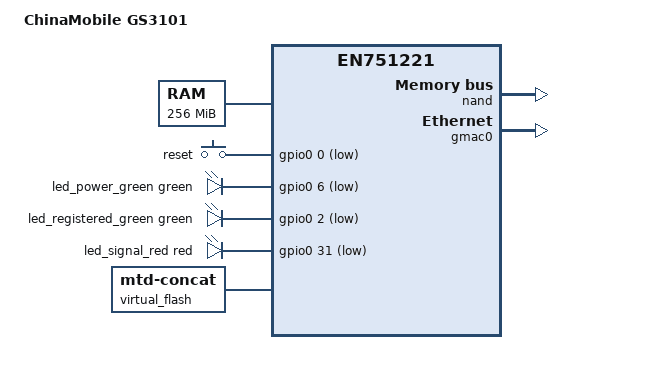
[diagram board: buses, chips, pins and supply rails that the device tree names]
// SPDX-License-Identifier: (GPL-2.0-only OR BSD-2-Clause)
/dts-v1/;

#include <dt-bindings/gpio/gpio.h>
#include <dt-bindings/input/input.h>
#include <dt-bindings/leds/common.h>

#include "en7526f.dtsi"

/ {
	model = "ChinaMobile GS3101";
	compatible = "chinamobile,gs3101", "econet,en7526f", "econet,en751221";

	memory@0 {
		device_type = "memory";
		reg = <0x00000000 0x10000000>;
	};

	chosen {
		stdout-path = "/serial@1fbf0000:115200";
	};

	keys {
		compatible = "gpio-keys-polled";
		poll-interval = <100>;

		key-reset {
			label = "reset";
			linux,code = <KEY_RESTART>;
			gpios = <&gpio0 0 GPIO_ACTIVE_LOW>;
		};
	};

	aliases {
		led-boot = &led_power_green;
		led-failsafe = &led_signal_red;
		led-running = &led_power_green;
		led-upgrade = &led_registered_green;
	};

	leds {
		compatible = "gpio-leds";

		led_power_green: led-0 {
			/* Written "电源" (Power supply) */
			color = <LED_COLOR_ID_GREEN>;
			function = LED_FUNCTION_POWER;
			gpios = <&gpio0 6 GPIO_ACTIVE_LOW>;
		};

		led_registered_green: led-1 {
			/* Written "注册" (Registered) */
			color = <LED_COLOR_ID_GREEN>;
			function = LED_FUNCTION_WAN;
			gpios = <&gpio0 2 GPIO_ACTIVE_LOW>;
		};

		led_signal_red: led-2 {
			/* Written "光信号" (Optical signal) */
			color = <LED_COLOR_ID_RED>;
			function = "signal";
			gpios = <&gpio0 31 GPIO_ACTIVE_LOW>;
		};
	};

	virtual_flash {
		compatible = "mtd-concat";
		devices = <&rootA &rootB &root2>;

		partitions {
			compatible = "fixed-partitions";
			#address-cells = <1>;
			#size-cells = <1>;

			partition@0 {
				label = "ubi";
				reg = <0x0 0x0>;
			};
		};
	};
};

&nand {
	status = "okay";
	econet,bmt;
	econet,bbt-table-size = <250>;

	partitions {
		compatible = "fixed-partitions";
		#address-cells = <1>;
		#size-cells = <1>;

		partition@0 {
			label = "bootloader";
			reg = <0x0 0x40000>;
			read-only;
		};

		partition@40000 {
			label = "romfile";
			reg = <0x40000 0x40000>;
		};

		partition@80000 {
			label = "tclinux";
			reg = <0x80000 0x1000000>;
			econet,enable-remap;
		};

		partition1@80000 {
			label = "tclinux_kernel";
			reg = <0x80000 0x400000>;
			econet,enable-remap;
		};

		rootA: partition1@480000 {
			label = "tclinux_rootfs";
			reg = <0x480000 0xc00000>;
		};

		partition@1080000 {
			label = "tclinux_alt";
			reg = <0x1080000 0x1000000>;
			econet,enable-remap;
		};

		partition1@1080000 {
			label = "tclinux_alt_kernel";
			reg = <0x1080000 0x400000>;
			econet,enable-remap;
		};

		rootB: partition1@1480000 {
			label = "tclinux_alt_rootfs";
			reg = <0x1480000 0xc00000>;
		};

		root2: partition@2080000 {
			label = "common_rootfs";
			reg = <0x2080000 0xbdc0000>;
		};

		partition@de40000 {
			label = "reservearea";
			reg = <0xde40000 0x1c0000>;

			nvmem-layout {
				compatible = "fixed-layout";
				#address-cells = <1>;
				#size-cells = <1>;

				eeprom_reserve_140000: eeprom@140000 {
					/* MT7592 */
					reg = <0x140000 0x200>;
				};
			};
		};
	};
};

&gmac0 {
	status = "okay";
	/*
	 * MAC address used in factory OS is found in an XML-like file
	 * in a tar.gz which is written to partition romfile.
	 * This address does not match the address on the device label
	 * and can only be extracted by a script.
	 */
};

/*
 * There is an MT7592 (MT7603 compatible) chip on this board, but on a large
 * fraction of devices it is apparently defective and attempting to start it
 * causes a board hang. In the interest of not causing bricked devices, this
 * is commented out.
 * Adventurous users may uncomment this and try to re-flash at their own risk.

&pcie0 {
	status = "okay";
};
&slot0 {
	wifi@0,0 {
		compatible = "mediatek,mt76";
		reg = <0x0000 0 0 0 0>;
		nvmem-cells = <&eeprom_reserve_140000>;
		nvmem-cell-names = "eeprom";
	};
};
*/
